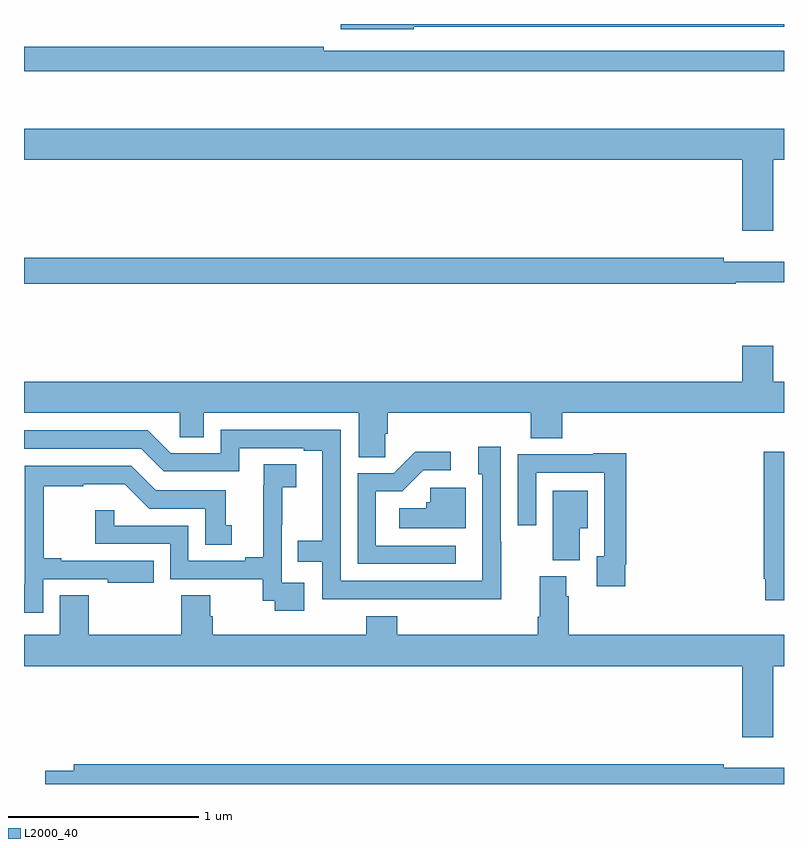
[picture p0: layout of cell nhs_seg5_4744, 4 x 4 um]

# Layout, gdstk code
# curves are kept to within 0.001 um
import gdstk
lib = gdstk.Library(unit=1e-6, precision=1e-09)
def P(c, l, *ps):  # polygons
    for p in ps: c.add(gdstk.Polygon(p, *l))
L2000_40 = (2000, 40)

nhs_seg5_4744 = lib.new_cell('nhs_seg5_4744')
P(nhs_seg5_4744, L2000_40, [(391.05,866.784),(393,866.784),(393,866.799),(390.666,866.799),(390.666,866.771),(391.05,866.771)],
  [(393,866.658),(390.578,866.658),(390.578,866.678),(389,866.678),(389,866.55),(393,866.55)],
  [(392.944,866.084),(393,866.084),(393,866.248),(389,866.248),(389,866.084),(392.78,866.084),(392.78,865.71),(392.944,865.71)],
  [(392.745,865.44),(393,865.44),(393,865.549),(392.684,865.549),(392.684,865.568),(389,865.568),(389,865.432),(392.745,865.432)],
  [(390.9,864.643),(390.914,864.643),(390.914,864.752),(391.667,864.752),(391.667,864.619),(391.832,864.619),(391.832,864.752),(393,864.752),(393,864.916),(392.944,864.916),(392.944,865.105),(392.78,865.105),(392.78,864.916),(389,864.916),(389,864.752),(389.82,864.752),(389.82,864.625),(389.947,864.625),(389.947,864.752),(390.761,864.752),(390.761,864.52),(390.9,864.52)],
  [(391.511,864.074),(391.509,864.074),(391.509,864.574),(391.391,864.574),(391.391,864.429),(391.413,864.429),(391.413,863.868),(390.666,863.868),(390.666,864.663),(390.036,864.663),(390.036,864.54),(389.772,864.54),(389.652,864.66),(389,864.66),(389,864.564),(389.616,864.564),(389.736,864.444),(390.132,864.444),(390.132,864.567),(390.473,864.567),(390.473,864.552),(390.569,864.552),(390.569,864.079),(390.442,864.079),(390.442,863.97),(390.57,863.97),(390.57,863.772),(391.511,863.771)],
  [(391.273,864.054),(390.852,864.054),(390.852,864.339),(390.99,864.339),(391.101,864.45),(391.246,864.45),(391.246,864.548),(391.058,864.548),(390.945,864.435),(390.756,864.435),(390.756,863.958),(391.273,863.958)],
  [(393,864.547),(392.893,864.547),(392.893,863.878),(392.901,863.878),(392.901,863.766),(393,863.766)],
  [(392.164,863.953),(392.171,863.953),(392.171,864.541),(391.995,864.541),(391.995,864.534),(391.599,864.534),(391.599,864.162),(391.695,864.162),(391.695,864.438),(392.055,864.438),(392.055,863.997),(392.015,863.997),(392.015,863.841),(392.164,863.841)],
  [(390.475,863.859),(390.357,863.859),(390.357,864.163),(390.359,864.163),(390.359,864.361),(390.433,864.361),(390.433,864.482),(390.262,864.482),(390.262,864.371),(390.26,864.371),(390.26,863.993),(390.164,863.993),(390.164,863.973),(389.865,863.973),(389.865,864.159),(389.475,864.159),(389.475,864.241),(389.374,864.241),(389.374,864.063),(389.769,864.063),(389.769,863.877),(390.256,863.877),(390.256,863.763),(390.319,863.763),(390.319,863.712),(390.475,863.712)],
  [(389.1,863.877),(389.441,863.877),(389.441,863.858),(389.684,863.858),(389.684,863.973),(389.197,863.973),(389.197,863.986),(389.105,863.986),(389.105,864.366),(389.312,864.366),(389.312,864.377),(389.53,864.377),(389.658,864.249),(389.954,864.249),(389.954,864.058),(390.094,864.058),(390.094,864.162),(390.061,864.162),(390.061,864.345),(389.694,864.345),(389.565,864.474),(389.004,864.474),(389.004,863.851),(389,863.851),(389,863.7),(389.1,863.7)],
  [(391.324,864.357),(391.137,864.357),(391.137,864.282),(391.118,864.282),(391.118,864.25),(390.975,864.25),(390.975,864.146),(391.324,864.146)],
  [(391.924,864.146),(391.966,864.146),(391.966,864.343),(391.784,864.343),(391.784,863.977),(391.924,863.977)],
  [(392.944,863.42),(393,863.42),(393,863.584),(391.868,863.584),(391.868,863.786),(391.855,863.786),(391.855,863.892),(391.715,863.892),(391.715,863.68),(391.703,863.68),(391.703,863.584),(390.965,863.584),(390.965,863.683),(390.8,863.683),(390.8,863.584),(389.993,863.584),(389.993,863.682),(389.98,863.682),(389.98,863.792),(389.828,863.792),(389.828,863.584),(389.342,863.584),(389.342,863.792),(389.189,863.792),(389.189,863.584),(389,863.584),(389,863.42),(392.78,863.42),(392.78,863.046),(392.944,863.046)],
  [(393,862.885),(392.684,862.885),(392.684,862.904),(389.261,862.904),(389.261,862.868),(389.112,862.868),(389.112,862.799),(393,862.799)])

lib.write_gds('nhs_seg5_4744.gds')
